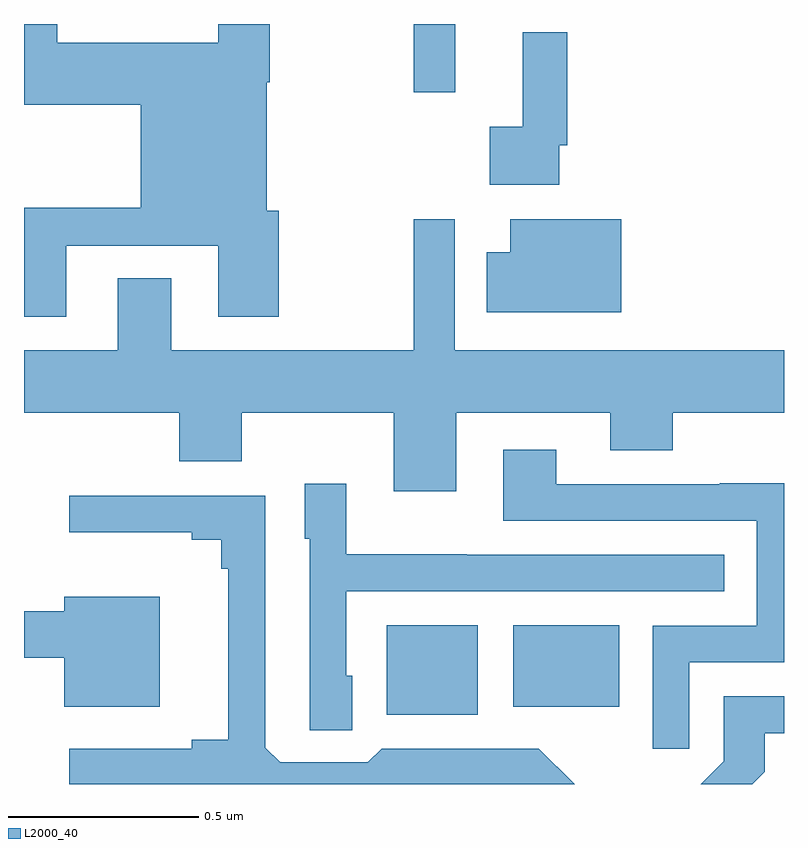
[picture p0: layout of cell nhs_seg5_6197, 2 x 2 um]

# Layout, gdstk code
import gdstk
lib = gdstk.Library(unit=1e-6, precision=1e-09)
def R(c, l, rs):  # rectangles x0, y0, x1, y1
    for r in rs: c.add(gdstk.rectangle(r[:2], r[2:], *l))
def P(c, l, *ps):  # polygons
    for p in ps: c.add(gdstk.Polygon(p, *l))
L2000_40 = (2000, 40)

nhs_seg5_6197 = lib.new_cell('nhs_seg5_6197')
R(nhs_seg5_6197, L2000_40, [(193.955,839.981,194.194,840.217), (194.288,840.002,194.566,840.217), (194.025,841.62,194.135,841.799)])
P(nhs_seg5_6197, L2000_40, [(193.111,841.215),(193.511,841.215),(193.511,841.029),(193.671,841.029),(193.671,841.308),(193.639,841.308),(193.639,841.646),(193.647,841.646),(193.647,841.799),(193.511,841.799),(193.511,841.75),(193.087,841.75),(193.087,841.799),(193,841.799),(193,841.586),(193.307,841.586),(193.307,841.316),(193,841.316),(193,841.029),(193.111,841.029)],
  [(194.409,841.48),(194.429,841.48),(194.429,841.777),(194.312,841.777),(194.312,841.529),(194.226,841.529),(194.226,841.376),(194.409,841.376)],
  [(193.387,841.13),(193.247,841.13),(193.247,840.94),(193,840.94),(193,840.776),(193.409,840.776),(193.409,840.648),(193.573,840.648),(193.573,840.776),(193.973,840.776),(193.973,840.57),(194.137,840.57),(194.137,840.776),(194.543,840.776),(194.543,840.677),(194.707,840.677),(194.707,840.776),(195,840.776),(195,840.94),(194.133,840.94),(194.133,841.285),(194.025,841.285),(194.025,840.94),(193.387,840.94)],
  [(194.572,841.285),(194.279,841.285),(194.279,841.198),(194.218,841.198),(194.218,841.04),(194.572,841.04)],
  [(194.751,840.12),(195,840.12),(195,840.59),(194.831,840.59),(194.831,840.588),(194.401,840.588),(194.401,840.679),(194.261,840.679),(194.261,840.492),(194.928,840.492),(194.928,840.216),(194.655,840.216),(194.655,839.892),(194.751,839.892)],
  [(193.864,840.084),(193.848,840.084),(193.848,840.306),(194.843,840.306),(194.843,840.402),(194.165,840.402),(194.165,840.403),(193.848,840.403),(193.848,840.589),(193.739,840.589),(193.739,840.444),(193.752,840.444),(193.752,839.941),(193.864,839.941)],
  [(194.355,839.892),(193.941,839.892),(193.905,839.856),(193.674,839.856),(193.635,839.895),(193.635,840.558),(193.119,840.558),(193.119,840.461),(193.442,840.461),(193.442,840.442),(193.519,840.442),(193.519,840.365),(193.538,840.365),(193.538,839.915),(193.442,839.915),(193.442,839.892),(193.119,839.892),(193.119,839.799),(194.449,839.799)],
  [(193.357,840.292),(193.106,840.292),(193.106,840.253),(193,840.253),(193,840.131),(193.106,840.131),(193.106,840.002),(193.357,840.002)],
  [(194.949,839.831),(194.949,839.933),(195,839.933),(195,840.03),(194.841,840.03),(194.841,839.859),(194.781,839.799),(194.917,839.799)])

lib.write_gds('nhs_seg5_6197.gds')
